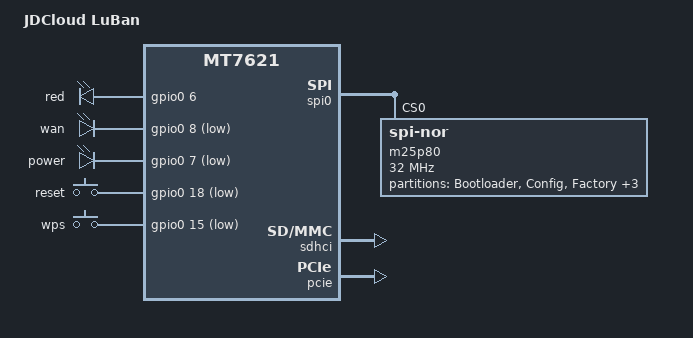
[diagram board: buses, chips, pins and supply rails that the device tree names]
/dts-v1/;

#include "mt7621.dtsi"
#include <dt-bindings/input/input.h>
#include "mt7621-raeth-gmac2.dtsi"
#include "mt7621-pinctrl-default-gpio.dtsi"

/ {
	compatible = "mediatek,mt7621-soc";
	model = "JDCloud LuBan";

	chosen {
		bootargs = "console=ttyS0,115200";
	};

	leds {
		compatible = "gpio-leds";

		stat_r {
			label = "red";
			gpios = <&gpio0 6 GPIO_ACTIVE_HIGH>;
		};

		stat_g {
			label = "wan";
			gpios = <&gpio0 8 GPIO_ACTIVE_LOW>;
		};

		stat_b {
			label = "power";
			gpios = <&gpio0 7 GPIO_ACTIVE_LOW>;
		};
	};

	gpio-keys-polled {
		compatible = "gpio-keys-polled";
		#address-cells = <1>;
		#size-cells = <0>;
		poll-interval = <20>;

		reset {
			label = "reset";
			gpios = <&gpio0 18 GPIO_ACTIVE_LOW>;
			linux,code = <KEY_RESTART>;
		};

		wps {
			label = "wps";
			gpios = <&gpio0 15 GPIO_ACTIVE_LOW>;
			linux,code = <KEY_WPS_BUTTON>;
		};
	};
};

&spi0 {
	status = "okay";

	m25p80@0 {
		#address-cells = <1>;
		#size-cells = <1>;
		compatible = "jedec,spi-nor";
		reg = <0>;
		spi-max-frequency = <32000000>;

		partition@0 {
			label = "Bootloader";
			reg = <0x00000 0x40000>; /* 256K */
		};

		partition@40000 {
			label = "Config";
			reg = <0x40000 0x10000>; /* 64K */
		};

		partition@50000 {
			label = "Factory";
			reg = <0x50000 0x40000>; /* 256K */
		};

		partition@90000 {
			label = "firmware";
			reg = <0x90000 0xef0000>;
		};

		partition@1e70000 {
			label = "Storage";
			reg = <0xf80000 0x80000>;
		};

		partition@all {
			label = "ALL";
			reg = <0x00 0x1000000>;
		};
	};
};


&sdhci {
	status = "okay";
};

&pcie {
	status = "okay";
};
